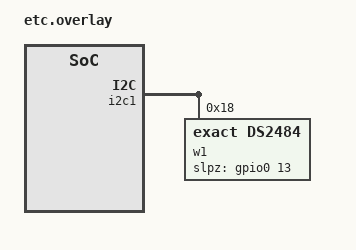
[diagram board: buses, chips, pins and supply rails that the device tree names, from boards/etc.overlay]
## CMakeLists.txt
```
# SPDX-License-Identifier: Apache-2.0

cmake_minimum_required(VERSION 3.20.0)
find_package(Zephyr REQUIRED HINTS $ENV{ZEPHYR_BASE})
project(sht31)

target_sources(app PRIVATE src/main.c)
```

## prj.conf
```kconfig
CONFIG_GPIO=y
CONFIG_LOG=y
CONFIG_CBPRINTF_FP_SUPPORT=y
CONFIG_W1=y
CONFIG_ONEWIRE_I2C=y
CONFIG_ONEWIRE_I2C_LOG_LEVEL_INF=y
CONFIG_SENSOR=y
CONFIG_SENSOR_LOG_LEVEL_DBG=y
CONFIG_SHT3XD_SINGLE_SHOT_MODE=y

# segger RTT console
CONFIG_USE_SEGGER_RTT=y
CONFIG_RTT_CONSOLE=n
CONFIG_LOG_BACKEND_RTT=y
CONFIG_SHELL_LOG_BACKEND=n
CONFIG_SHELL_BACKEND_SERIAL=y
```

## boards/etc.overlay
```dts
&i2c1 {
	w1: w1@18 {
		compatible = "exact,ds2484";
		reg = <0x18>;
		slpz-gpios = <&gpio0 13 GPIO_ACTIVE_HIGH>;
		ds28e18 {
			compatible = "maxim,ds28e18";
			family-code = <0x56>;
			status = "okay";
			#address-cells = <1>;
			#size-cells = <0>;
			clock-frequency = <I2C_BITRATE_STANDARD>;
			sht31@44 {
				compatible = "sensirion,sht31";
				reg = <0x44>;
				status = "okay";
			};
		};
	};
};
```

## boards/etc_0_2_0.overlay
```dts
&i2c0 {
	w1: w1@18 {
		compatible = "maxim,ds2484";
		reg = <0x18>;

		ds28e18 {
			compatible = "maxim,ds28e18";
			family-code = <0x56>;
			status = "okay";
			#address-cells = <1>;
			#size-cells = <0>;
			clock-frequency = <I2C_BITRATE_STANDARD>;
			sht3xd@44 {
				compatible = "sensirion,sht3xd";
				reg = <0x44>;
				status = "okay";
			};
		};
	};
};
```

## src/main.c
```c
/*
 * Copyright (c) 2023 EXACT Technology
 *
 * SPDX-License-Identifier: Apache-2.0
 */

#include <zephyr/kernel.h>
#include <zephyr/device.h>
#include <zephyr/devicetree.h>
#include <zephyr/drivers/sensor.h>
#include <zephyr/drivers/gpio.h>
#include <zephyr/logging/log.h>

LOG_MODULE_REGISTER(main, CONFIG_LOG_DEFAULT_LEVEL);

static const struct gpio_dt_spec s0_dt = GPIO_DT_SPEC_GET_OR(DT_NODELABEL(sens_sel0), control_gpios, 0);
static const struct gpio_dt_spec s1_dt = GPIO_DT_SPEC_GET_OR(DT_NODELABEL(sens_sel1), control_gpios, 0);

void port_selection(int port_index) {
	switch (port_index) {
		case 1:
			gpio_pin_configure_dt(&s0_dt, GPIO_OUTPUT_ACTIVE);
			gpio_pin_configure_dt(&s1_dt, GPIO_OUTPUT_INACTIVE);
			break;
		case 2:
			gpio_pin_configure_dt(&s0_dt, GPIO_OUTPUT_INACTIVE);
			gpio_pin_configure_dt(&s1_dt, GPIO_OUTPUT_INACTIVE);
			break;
		case 3:
			gpio_pin_configure_dt(&s0_dt, GPIO_OUTPUT_ACTIVE);
			gpio_pin_configure_dt(&s1_dt, GPIO_OUTPUT_ACTIVE);
			break;
		case 4:
			gpio_pin_configure_dt(&s0_dt, GPIO_OUTPUT_INACTIVE);
			gpio_pin_configure_dt(&s1_dt, GPIO_OUTPUT_ACTIVE);
			break;
	}
}

void main(void)
{
	const struct device *const dev = DEVICE_DT_GET_ONE(sensirion_sht31);
	int rc;

	if (!device_is_ready(dev)) {
		LOG_ERR("Device %s is not ready", dev->name);
		return;
	}

	/* Set the IO for selecting the ports 2 */
	port_selection(2);
	/* Call to re-configure the sensor */
	sensor_attr_set(dev, SENSOR_CHAN_ALL, SENSOR_ATTR_CONFIGURATION, NULL);

	while (1) {
		struct sensor_value temp, hum;

		rc = sensor_sample_fetch(dev);
		if (rc == 0) {
			rc = sensor_channel_get(dev, SENSOR_CHAN_AMBIENT_TEMP,
						&temp);
		}
		if (rc == 0) {
			rc = sensor_channel_get(dev, SENSOR_CHAN_HUMIDITY,
						&hum);
		}
		if (rc != 0) {
			LOG_ERR("SHT31: failed: %d\n", rc);
			break;
		}

		LOG_INF("SHT31: %.2f Cel ; %0.2f %%RH",
		       sensor_value_to_double(&temp),
		       sensor_value_to_double(&hum));

		k_sleep(K_MSEC(2000));
	}
}
```
